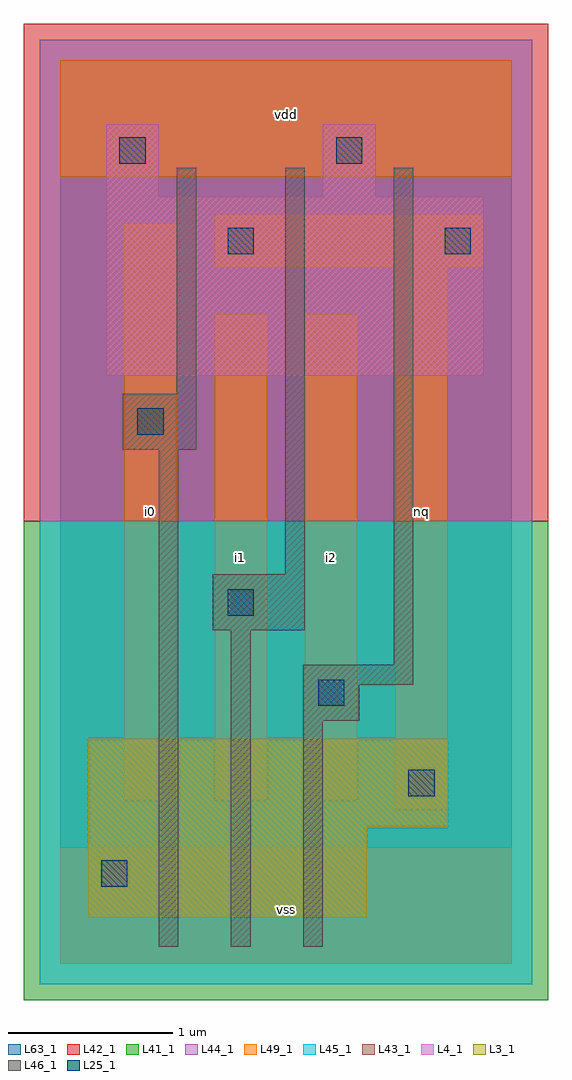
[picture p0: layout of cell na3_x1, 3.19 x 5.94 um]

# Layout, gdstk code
import gdstk
lib = gdstk.Library(unit=1e-6, precision=1e-09)
def R(c, l, rs):  # rectangles x0, y0, x1, y1
    for r in rs: c.add(gdstk.rectangle(r[:2], r[2:], *l))
L3_1 = (3, 1)
L4_1 = (4, 1)
L25_1 = (25, 1)
L41_1 = (41, 1)
L42_1 = (42, 1)
L43_1 = (43, 1)
L44_1 = (44, 1)
L45_1 = (45, 1)
L46_1 = (46, 1)
L49_1 = (49, 1)
L63_1 = (63, 1)

na3_x1 = lib.new_cell('na3_x1')
R(na3_x1, L3_1, [(0.17,0.28,1.865,0.83), (0.17,0.83,2.36,1.37)])
R(na3_x1, L4_1, [(0.28,3.58,2.58,4.67), (0.28,4.67,0.6,5.11), (1.6,4.67,1.92,5.11)])
R(na3_x1, L25_1, [(0.25,0.47,0.41,0.63), (2.12,1.02,2.28,1.18), (1.57,1.57,1.73,1.73), (1.02,2.12,1.18,2.28), (0.47,3.22,0.63,3.38), (1.02,4.32,1.18,4.48), (2.34,4.32,2.5,4.48), (0.36,4.87,0.52,5.03), (1.68,4.87,1.84,5.03)])
R(na3_x1, L41_1, [(-0.22,-0.22,2.97,2.695)])
R(na3_x1, L42_1, [(-0.22,2.695,2.97,5.72)])
R(na3_x1, L43_1, [(0.17,0.28,1.865,0.83), (0.17,0.83,2.36,1.37), (0.28,3.58,2.58,4.67), (0.28,4.67,0.6,5.11), (1.6,4.67,1.92,5.11)])
R(na3_x1, L44_1, [(-0.125,2.695,2.875,5.625)])
R(na3_x1, L45_1, [(-0.125,-0.125,2.875,2.695)])
R(na3_x1, L46_1, [(0.6,0.105,0.72,3.13), (1.04,0.105,1.16,2.03), (1.48,0.105,1.6,1.48), (1.48,1.48,1.82,1.7), (1.48,1.7,2.15,1.82), (2.03,1.82,2.15,4.845), (0.93,2.03,1.49,2.37), (1.37,2.37,1.49,4.845), (0.38,3.13,0.83,3.47), (0.71,3.47,0.83,4.845)])
R(na3_x1, L49_1, [(0,0,2.75,0.71), (2.04,0.94,2.36,4.24), (0.39,0.995,0.71,4.505), (0.94,0.995,1.26,3.955), (1.49,0.995,1.81,3.955), (0.94,4.24,2.58,4.56), (0,4.79,2.75,5.5)])
R(na3_x1, L63_1, [(0,0,2.75,5.5)])
na3_x1.add(gdstk.Label('i1', (1.1,2.475), layer=49, texttype=1))
na3_x1.add(gdstk.Label('i1', (1.1,2.475), layer=49, texttype=1))
na3_x1.add(gdstk.Label('i0', (0.55,2.75), layer=49, texttype=1))
na3_x1.add(gdstk.Label('i0', (0.55,2.75), layer=49, texttype=1))
na3_x1.add(gdstk.Label('vss', (1.375,0.33), layer=49, texttype=1))
na3_x1.add(gdstk.Label('vss', (1.375,0.33), layer=49, texttype=1))
na3_x1.add(gdstk.Label('i2', (1.65,2.475), layer=49, texttype=1))
na3_x1.add(gdstk.Label('i2', (1.65,2.475), layer=49, texttype=1))
na3_x1.add(gdstk.Label('vdd', (1.375,5.17), layer=49, texttype=1))
na3_x1.add(gdstk.Label('vdd', (1.375,5.17), layer=49, texttype=1))
na3_x1.add(gdstk.Label('nq', (2.2,2.75), layer=49, texttype=1))
na3_x1.add(gdstk.Label('nq', (2.2,2.75), layer=49, texttype=1))

lib.write_gds('na3_x1.gds')
